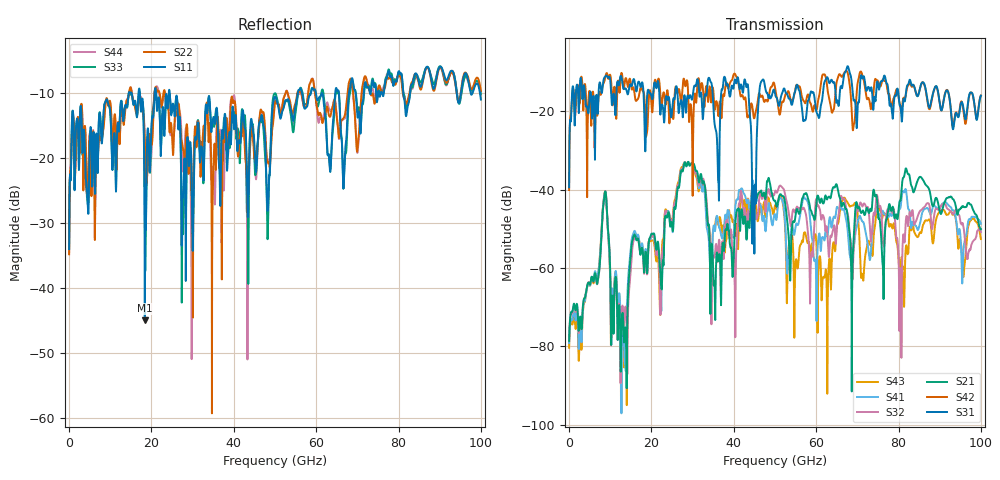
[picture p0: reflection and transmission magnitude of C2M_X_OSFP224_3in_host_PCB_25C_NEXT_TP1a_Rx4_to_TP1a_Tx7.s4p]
# GHz S RI R 45
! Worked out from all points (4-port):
!   4000 points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, 25 MHz to 100 GHz, reference 45 ohm
!   strongest paths, dB at 25 MHz, 25.02 GHz, 50.02 GHz, 75.03 GHz, 100 GHz:
!     S31: -39.4, -19.7, -15.5, -13.0, -16.0
!     S42: -40.1, -20.6, -13.9, -12.3, -15.9
!     S21: -78.6, -49.0, -42.8, -46.3, -50.1
!     S32: -77.9, -48.1, -40.4, -42.8, -50.8
!     S41: -79.1, -49.2, -46.3, -46.9, -48.7
!     S43: -80.4, -47.8, -44.0, -44.8, -52.6
!   lowest |S11| = -45.0 dB at 18.4 GHz (marker M1), VSWR 1.01, Z = 44.9 - j0.501 ohm
!   |S11| at or under -10 dB: start of sweep to 14.52 GHz; 24.46 GHz to 55.53 GHz (31.07 GHz wide, 77.7 % of centre); 59.93 GHz to 64.64 GHz (4.705 GHz wide, 7.55 % of centre) (the widest 3 of 18)
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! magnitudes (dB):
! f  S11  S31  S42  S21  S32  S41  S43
! 25 MHz  -34.1  -39.4  -40.1  -78.6  -77.9  -79.1  -80.4
! 8.65 GHz  -11.7  -11.3  -12.1  -41.2  -41.1  -40.9  -40.8
! 13.1 GHz  -14.1  -13.6  -12.8  -72.3  -70.5  -73.9  -72.6
! 18.4 GHz  -45.0  -26.8  -18.0  -58.1  -58.3  -57.2  -57.0
! 28.55 GHz  -20.0  -18.1  -12.1  -34.0  -33.8  -33.5  -33.3
! 35.35 GHz  -14.6  -23.3  -19.6  -64.7  -57.2  -50.3  -50.2
! 100 GHz  -11.0  -16.0  -15.9  -50.1  -50.8  -48.7  -52.6
